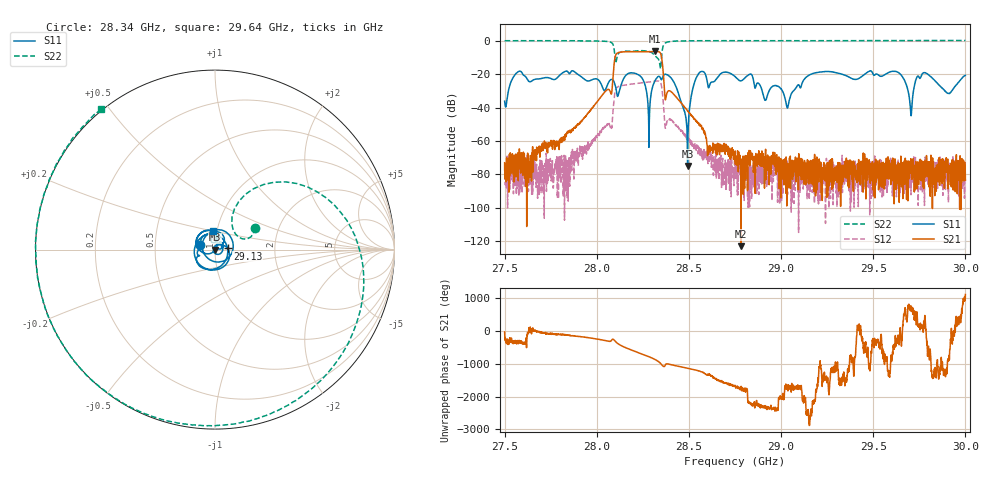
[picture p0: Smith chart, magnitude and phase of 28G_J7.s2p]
!Keysight Technologies,N5234A,MY55441357,A.10.47.05
!Date: Sunday, November 19, 2017 13:24:54
!Correction: S11(Full 2 Port(1,2))
!S21(Full 2 Port(1,2))
!S12(Full 2 Port(1,2))
!S22(Full 2 Port(1,2))
!S2P File: Measurements: S11, S21, S12, S22:
# Hz S  dB  R 50
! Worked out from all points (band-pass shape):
!   2501 points, 27.5 GHz to 30 GHz, reference 50 ohm
!   highest |S21| = -6.42 dB at 28.32 GHz (marker M1); lowest = -123.0 dB at 28.78 GHz (marker M2)
!   |S21| within 3 dB of the highest: 28.1 GHz to 28.35 GHz (250.4 MHz wide, 0.887 % of centre)
!   lowest |S11| = -75.0 dB at 28.49 GHz (marker M3), VSWR 1.00, Z = 50 - j0.0131 ohm
!   |S11| at or under -10 dB: start of sweep to end of sweep
!   |S22| runs from -16.9 to 0.2 dB; largest |S21 - S12| = 0.5
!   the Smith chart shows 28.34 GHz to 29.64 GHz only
!   S11 on the Smith chart (normalised r, x): 28.34 GHz: 0.85, +0.04; 29.13 GHz: 1.15, +0.02; 29.64 GHz: 0.96, +0.20
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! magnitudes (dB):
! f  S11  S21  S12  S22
! 27.5 GHz  -36.2  -73.0  -77.9  0.0
! 27.58 GHz  -18.4  -75.9  -93.0  0.0
! 27.92 GHz  -21.6  -48.1  -68.7  -0.1
! 28.07 GHz  -23.4  -30.7  -52.0  -0.8
! 28.11 GHz  -33.4  -7.3  -27.7  -8.5
! 28.22 GHz  -20.0  -6.6  -25.6  -6.1
! 28.28 GHz  -54.8  -6.6  -24.7  -6.4
! 28.32 GHz  -23.9  -6.4  -24.2  -9.0
! 28.33 GHz  -21.4  -6.6  -24.2  -10.9
! 28.34 GHz  -21.3  -6.7  -24.2  -11.9
! 28.38 GHz  -20.1  -32.9  -50.5  -1.1
! 28.49 GHz  -75.0  -42.1  -57.7  -0.1
! 28.56 GHz  -19.1  -50.4  -67.2  0.0
! 28.75 GHz  -21.4  -71.2  -80.6  0.0
! 28.78 GHz  -24.0  -123.0  -76.6  0.0
! 29.03 GHz  -40.3  -73.3  -72.1  0.0
! 29.13 GHz  -23.0  -76.1  -78.1  0.0
! 29.17 GHz  -19.8  -79.3  -74.3  0.0
! 29.58 GHz  -19.0  -82.7  -75.5  0.1
! 29.64 GHz  -19.8  -84.6  -75.7  0.1
! 29.7 GHz  -43.9  -70.6  -79.0  0.1
! 30 GHz  -20.8  -83.5  -71.9  0.1
